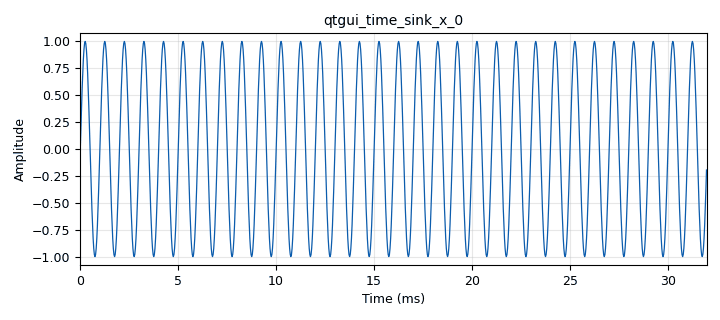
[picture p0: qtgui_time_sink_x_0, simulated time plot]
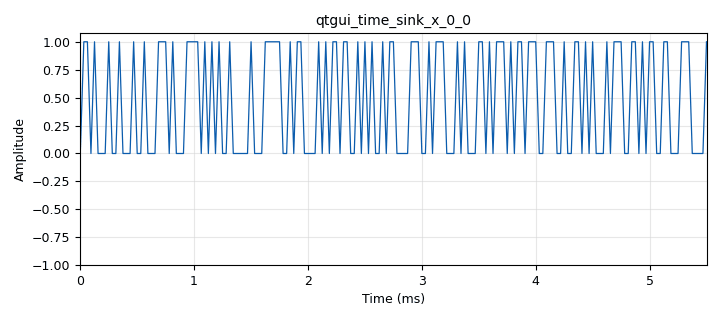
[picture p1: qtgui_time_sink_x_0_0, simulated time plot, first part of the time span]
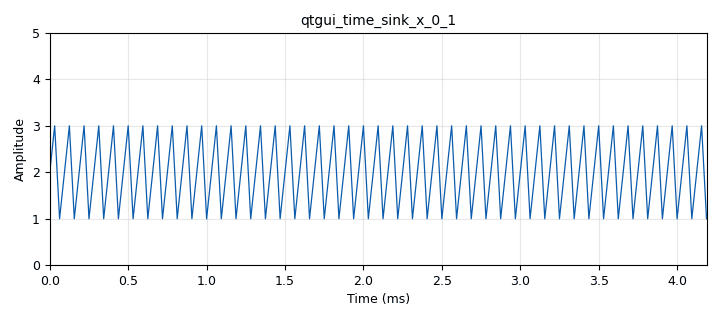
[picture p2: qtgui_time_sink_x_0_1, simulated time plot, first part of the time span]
options:
  parameters:
    generate_options: qt_gui
    id: Practica1
    output_language: python
    title: Practica1
  states: {}

blocks:
- name: samp_rate
  id: variable
  parameters:
    value: '32000'
  states: {}
- name: analog_random_source_x_0
  id: analog_random_source_x
  parameters:
    max: '2'
    min: '0'
    num_samps: '1000'
    repeat: 'True'
    type: int
  states: {}
- name: analog_sig_source_x_0
  id: analog_sig_source_x
  parameters:
    amp: '1'
    freq: '1000'
    offset: '0'
    phase: '0'
    samp_rate: samp_rate
    type: float
    waveform: analog.GR_SIN_WAVE
  states: {}
- name: blocks_int_to_float_0
  id: blocks_int_to_float
  parameters:
    scale: '1'
  states: {}
- name: blocks_throttle_0
  id: blocks_throttle
  parameters:
    samples_per_second: samp_rate
    type: float
  states: {}
- name: blocks_throttle_0_0
  id: blocks_throttle
  parameters:
    samples_per_second: samp_rate
    type: float
  states: {}
- name: blocks_throttle_0_1
  id: blocks_throttle
  parameters:
    samples_per_second: samp_rate
    type: float
  states: {}
- name: blocks_vector_source_x_0
  id: blocks_vector_source_x
  parameters:
    repeat: 'True'
    type: float
    vector: (1, 2, 3)
  states: {}
- name: qtgui_time_sink_x_0
  id: qtgui_time_sink_x
  parameters:
    size: '1024'
    srate: samp_rate
    type: float
  states: {}
- name: qtgui_time_sink_x_0_0
  id: qtgui_time_sink_x
  parameters:
    size: '1024'
    srate: samp_rate
    type: float
  states: {}
- name: qtgui_time_sink_x_0_1
  id: qtgui_time_sink_x
  parameters:
    size: '1024'
    srate: samp_rate
    type: float
    ymax: '5'
    ymin: '0'
  states: {}

connections:
- [analog_random_source_x_0, '0', blocks_int_to_float_0, '0']
- [analog_sig_source_x_0, '0', blocks_throttle_0, '0']
- [blocks_int_to_float_0, '0', blocks_throttle_0_0, '0']
- [blocks_throttle_0, '0', qtgui_time_sink_x_0, '0']
- [blocks_throttle_0_0, '0', qtgui_time_sink_x_0_0, '0']
- [blocks_throttle_0_1, '0', qtgui_time_sink_x_0_1, '0']
- [blocks_vector_source_x_0, '0', blocks_throttle_0_1, '0']

metadata:
  file_format: 1
